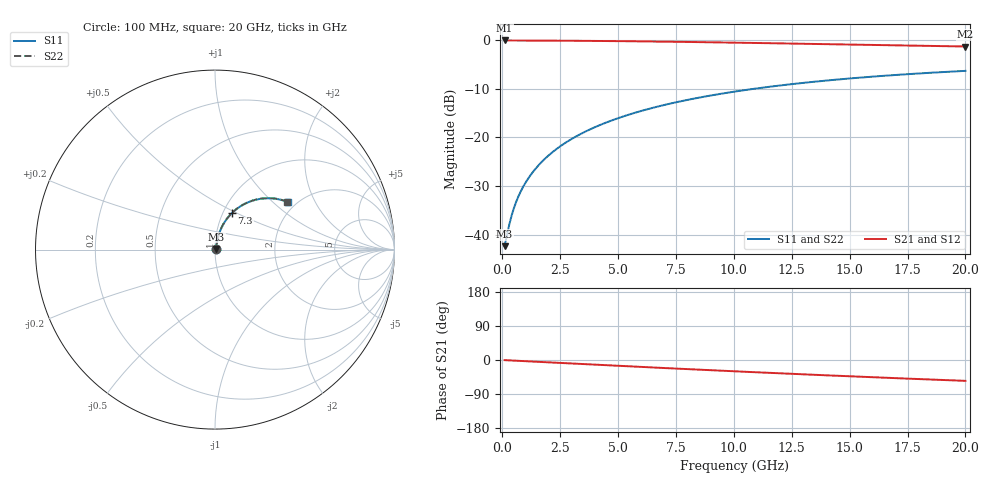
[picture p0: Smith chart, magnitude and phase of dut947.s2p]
! Touchstone file exported from HFSS 2026.1.0
!  File:  C:/ffzhzh/LocalFiles/Ansys_Project_Files/temp_train_TMRDL_947_1783158610_22436.aedt
!  Generated:  05:51:39 PM Jul  4, 2026
!  Design:  TMRDL
!  Project:  temp_train_TMRDL_947_1783158610_22436
! Variables:
!  h_bsmrdl = 2um
!  h_ox = 20um
!  h_rdl = 5um
!  h_sub = 80um
!  h_tmrdl = 2.4um
!  h_tsv = 80um
!  h_via = 3um
!  l_bsmrdl = 300um
!  l_sub = 1239.21um
!  l_tmrdl = 839.21um
!  m_sub = 200um
!  pitch = 42.83um
!  r_tsv = 6um
!  s_tmrdl = 10um
!  w_bsmrdl = 18um
!  w_sub = 500um
!  w_tmrdl = 18.75um
!  x_tsv_center1 = 848.585um
!  x_tsv_center2 = 1166.585um
!  x_tsv_center3 = 2024.545um
!  x_tsv_center4 = 2342.545um
!  x_tsv_center5 = 3200.505um
!  x_tsv_center6 = 3518.505um
# GHz S MA R 50.000000
! Terminal data exported
! Port[1] = TM_RDL1_1_T1
! Port[2] = TM_RDL1_1_T2
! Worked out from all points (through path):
!   200 points, 100 MHz to 20 GHz, reference 50 ohm
!   highest |S21| = -0.06 dB at 100 MHz (marker M1); lowest = -1.3 dB at 20 GHz (marker M2)
!   group delay of S21, straight-line fit = 7.66 ps
!   lowest |S11| = -42.4 dB at 100 MHz (marker M3), VSWR 1.02, Z = 50.7 + j0.356 ohm
!   |S11| at or under -10 dB: start of sweep to 10.87 GHz
!   |S22| runs from -42.4 to -6.3 dB; largest |S21 - S12| = 4e-15
!   S11 on the Smith chart (normalised r, x): 100 MHz: 1.01, +0.01; 7.3 GHz: 1.10, +0.47; 20 GHz: 1.80, +1.25
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0.1  0.007623 27.4  0.9932 -0.3  0.9932 -0.3  0.007623 27.4
! Gamma 0 0 0 0
! Port Impedance 50 0 50 0
0.3  0.01266 55.0  0.9929 -1.0  0.9929 -1.0  0.01266 55.0
0.4  0.01566 60.9  0.9926 -1.3  0.9926 -1.3  0.01565 60.9
0.5  0.01871 64.7  0.9923 -1.6  0.9923 -1.6  0.01871 64.7
0.6  0.02179 67.4  0.9921 -1.9  0.9921 -1.9  0.02179 67.4
0.7  0.02487 69.3  0.9919 -2.2  0.9919 -2.2  0.02487 69.3
0.9  0.03105 72.0  0.9914 -2.8  0.9914 -2.8  0.03105 72.0
1.2  0.04035 74.2  0.9908 -3.8  0.9908 -3.8  0.04035 74.2
1.4  0.04658 75.1  0.9904 -4.4  0.9904 -4.4  0.04658 75.1
1.7  0.05596 75.8  0.9898 -5.3  0.9898 -5.3  0.05595 75.8
2.2  0.07162 76.1  0.9886 -6.8  0.9886 -6.8  0.07161 76.1
2.8  0.09038 75.6  0.9869 -8.6  0.9869 -8.6  0.09037 75.6
3.5  0.1121 74.5  0.9845 -10.8  0.9845 -10.8  0.1121 74.5
4.2  0.1336 73.0  0.9816 -12.9  0.9816 -12.9  0.1336 73.1
5  0.1578 71.1  0.9777 -15.3  0.9777 -15.3  0.1578 71.2
6.8  0.2102 66.5  0.9672 -20.6  0.9672 -20.6  0.2102 66.5
7.3  0.2242 65.2  0.9638 -22.1  0.9638 -22.1  0.2242 65.2
8.6  0.2594 61.7  0.9545 -25.8  0.9545 -25.8  0.2594 61.7
10.1  0.2977 57.7  0.9427 -30.0  0.9427 -30.0  0.2976 57.7
13.4  0.3724 49.1  0.9149 -38.9  0.9149 -38.9  0.3724 49.2
16.7  0.4341 40.9  0.8868 -47.2  0.8868 -47.2  0.434 41.1
20  0.4835 33.3  0.8608 -55.0  0.8608 -55.0  0.4834 33.4
